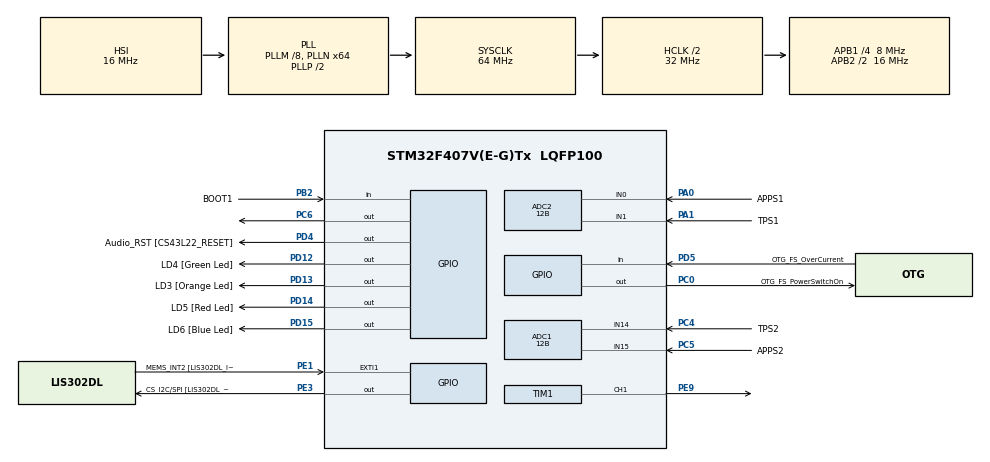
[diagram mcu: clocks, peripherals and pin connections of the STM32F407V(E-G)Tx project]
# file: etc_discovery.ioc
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ADC1.Channel-0\#ChannelRegularConversion=ADC_CHANNEL_15
ADC1.Channel-1\#ChannelRegularConversion=ADC_CHANNEL_14
ADC1.ClockPrescaler=ADC_CLOCK_SYNC_PCLK_DIV2
ADC1.ContinuousConvMode=ENABLE
ADC1.DMAContinuousRequests=DISABLE
ADC1.DataAlign=ADC_DATAALIGN_RIGHT
ADC1.DiscontinuousConvMode=DISABLE
ADC1.EOCSelection=ADC_EOC_SINGLE_CONV
ADC1.EnableAnalogWatchDog=false
ADC1.ExternalTrigConv=ADC_SOFTWARE_START
ADC1.ExternalTrigConvEdge=ADC_EXTERNALTRIGCONVEDGE_NONE
ADC1.Mode=ADC_DUALMODE_REGSIMULT
ADC1.NbrOfConversion=2
ADC1.NbrOfConversionFlag=1
ADC1.Rank-0\#ChannelRegularConversion=1
ADC1.Rank-1\#ChannelRegularConversion=2
ADC1.Resolution=ADC_RESOLUTION_12B
ADC1.SamplingTime-0\#ChannelRegularConversion=ADC_SAMPLETIME_144CYCLES
ADC1.SamplingTime-1\#ChannelRegularConversion=ADC_SAMPLETIME_144CYCLES
ADC1.ScanConvMode=ENABLE
ADC1.master=1
ADC2.Channel-0\#ChannelRegularConversion=ADC_CHANNEL_0
ADC2.Channel-1\#ChannelRegularConversion=ADC_CHANNEL_1
ADC2.ClockPrescaler=ADC_CLOCK_SYNC_PCLK_DIV2
ADC2.ContinuousConvMode=ENABLE
ADC2.DMAContinuousRequests=DISABLE
ADC2.DataAlign=ADC_DATAALIGN_RIGHT
ADC2.DiscontinuousConvMode=DISABLE
ADC2.EOCSelection=ADC_EOC_SINGLE_CONV
ADC2.EnableAnalogWatchDog=false
ADC2.Mode=ADC_DUALMODE_REGSIMULT
ADC2.NbrOfConversion=2
ADC2.NbrOfConversionFlag=1
ADC2.Rank-0\#ChannelRegularConversion=1
ADC2.Rank-1\#ChannelRegularConversion=2
ADC2.Resolution=ADC_RESOLUTION_12B
ADC2.SamplingTime-0\#ChannelRegularConversion=ADC_SAMPLETIME_144CYCLES
ADC2.SamplingTime-1\#ChannelRegularConversion=ADC_SAMPLETIME_144CYCLES
ADC2.ScanConvMode=ENABLE
Mcu.Family=STM32F4
Mcu.Name=STM32F407V(E-G)Tx
Mcu.Package=LQFP100
NVIC.PriorityGroup=NVIC_PRIORITYGROUP_0
PA0-WKUP.GPIO_Label=APPS1
PA0-WKUP.Signal=ADCx_IN0
PA1.GPIO_Label=TPS1
PA1.Signal=ADCx_IN1
PA10.GPIO_Label=OTG_FS_ID
PA10.GPIO_Mode=GPIO_MODE_AF_PP
PA10.GPIO_PuPd=GPIO_NOPULL
PA10.GPIO_Speed=GPIO_SPEED_FREQ_LOW
PA10.Signal=USB_OTG_FS_ID
PA11.GPIO_Label=OTG_FS_DM
PA11.GPIO_Mode=GPIO_MODE_AF_PP
PA11.GPIO_PuPd=GPIO_NOPULL
PA11.GPIO_Speed=GPIO_SPEED_FREQ_LOW
PA11.Signal=USB_OTG_FS_DM
PA12.GPIO_Label=OTG_FS_DP
PA12.GPIO_Mode=GPIO_MODE_AF_PP
PA12.GPIO_PuPd=GPIO_NOPULL
PA12.GPIO_Speed=GPIO_SPEED_FREQ_LOW
PA12.Signal=USB_OTG_FS_DP
PA13.GPIO_Label=SWDIO
PA13.Signal=SYS_JTMS-SWDIO
PA14.GPIO_Label=SWCLK
PA14.Signal=SYS_JTCK-SWCLK
PA4.GPIO_Label=I2S3_WS [CS43L22_LRCK]
PA4.GPIO_Mode=GPIO_MODE_AF_PP
PA4.GPIO_PuPd=GPIO_NOPULL
PA4.GPIO_Speed=GPIO_SPEED_FREQ_LOW
PA4.Signal=I2S3_WS
PA5.GPIO_Label=SPI1_SCK [LIS302DL_SCL/SPC]
PA5.GPIO_Mode=GPIO_MODE_AF_PP
PA5.GPIO_PuPd=GPIO_NOPULL
PA5.GPIO_Speed=GPIO_SPEED_FREQ_LOW
PA5.Signal=SPI1_SCK
PA6.GPIO_Label=SPI1_MISO [LIS302DL_SDO]
PA6.GPIO_Mode=GPIO_MODE_AF_PP
PA6.GPIO_PuPd=GPIO_NOPULL
PA6.GPIO_Speed=GPIO_SPEED_FREQ_LOW
PA6.Signal=SPI1_MISO
PA7.GPIO_Label=SPI1_MOSI [LIS302DL_SDA/SDI/SDO]
PA7.GPIO_Mode=GPIO_MODE_AF_PP
PA7.GPIO_PuPd=GPIO_NOPULL
PA7.GPIO_Speed=GPIO_SPEED_FREQ_LOW
PA7.Signal=SPI1_MOSI
PA9.GPIO_Label=VBUS_FS
PA9.GPIO_Mode=GPIO_MODE_INPUT
PA9.GPIO_PuPd=GPIO_NOPULL
PA9.Signal=USB_OTG_FS_VBUS
PB10.GPIO_Label=CLK_IN [MP45DT02_CLK]
PB10.GPIO_Mode=GPIO_MODE_AF_PP
PB10.GPIO_PuPd=GPIO_NOPULL
PB10.GPIO_Speed=GPIO_SPEED_FREQ_LOW
PB10.Signal=I2S2_CK
PB2.GPIO_Label=BOOT1
PB2.GPIO_Mode=GPIO_MODE_INPUT
PB2.GPIO_PuPd=GPIO_NOPULL
PB2.Signal=GPIO_Input
PB3.GPIO_Label=SWO
PB3.Signal=SYS_JTDO-SWO
PB6.GPIO_Label=Audio_SCL [CS43L22_SCL]
PB6.GPIO_Mode=GPIO_MODE_AF_OD
PB6.GPIO_PuPd=GPIO_NOPULL
PB6.GPIO_Speed=GPIO_SPEED_FREQ_LOW
PB6.Signal=I2C1_SCL
PB9.GPIO_Label=Audio_SDA [CS43L22_SDA]
PB9.GPIO_Mode=GPIO_MODE_AF_OD
PB9.GPIO_PuPd=GPIO_NOPULL
PB9.GPIO_Speed=GPIO_SPEED_FREQ_LOW
PB9.Signal=I2C1_SDA
PC0.GPIO_Label=OTG_FS_PowerSwitchOn
PC0.GPIO_PuPd=GPIO_NOPULL
PC0.GPIO_Speed=GPIO_SPEED_FREQ_LOW
PC0.PinState=GPIO_PIN_SET
PC0.Signal=GPIO_Output
PC10.GPIO_Label=I2S3_SCK [CS43L22_SCLK]
PC10.GPIO_Mode=GPIO_MODE_AF_PP
PC10.GPIO_PuPd=GPIO_NOPULL
PC10.GPIO_Speed=GPIO_SPEED_FREQ_LOW
PC10.Signal=I2S3_CK
PC12.GPIO_Label=I2S3_SD [CS43L22_SDIN]
PC12.GPIO_Mode=GPIO_MODE_AF_PP
PC12.GPIO_PuPd=GPIO_NOPULL
PC12.GPIO_Speed=GPIO_SPEED_FREQ_LOW
PC12.Signal=I2S3_SD
PC14-OSC32_IN.GPIO_Label=PC14-OSC32_IN
PC14-OSC32_IN.Signal=RCC_OSC32_IN
PC15-OSC32_OUT.GPIO_Label=PC15-OSC32_OUT
PC15-OSC32_OUT.Signal=RCC_OSC32_OUT
PC3.GPIO_Label=PDM_OUT [MP45DT02_DOUT]
PC3.GPIO_Mode=GPIO_MODE_AF_PP
PC3.GPIO_PuPd=GPIO_NOPULL
PC3.GPIO_Speed=GPIO_SPEED_FREQ_LOW
PC3.Signal=I2S2_SD
PC4.GPIO_Label=TPS2
PC4.Signal=ADCx_IN14
PC5.GPIO_Label=APPS2
PC5.Signal=ADCx_IN15
PC6.Signal=GPIO_Output
PC7.GPIO_Label=I2S3_MCK [CS43L22_MCLK]
PC7.GPIO_Mode=GPIO_MODE_AF_PP
PC7.GPIO_PuPd=GPIO_NOPULL
PC7.GPIO_Speed=GPIO_SPEED_FREQ_LOW
PC7.Signal=I2S3_MCK
PD12.GPIO_Label=LD4 [Green Led]
PD12.GPIO_PuPd=GPIO_NOPULL
PD12.GPIO_Speed=GPIO_SPEED_FREQ_LOW
PD12.Signal=GPIO_Output
PD13.GPIO_Label=LD3 [Orange Led]
PD13.GPIO_PuPd=GPIO_NOPULL
PD13.GPIO_Speed=GPIO_SPEED_FREQ_LOW
PD13.Signal=GPIO_Output
PD14.GPIO_Label=LD5 [Red Led]
PD14.GPIO_PuPd=GPIO_NOPULL
PD14.GPIO_Speed=GPIO_SPEED_FREQ_LOW
PD14.Signal=GPIO_Output
PD15.GPIO_Label=LD6 [Blue Led]
PD15.GPIO_PuPd=GPIO_NOPULL
PD15.GPIO_Speed=GPIO_SPEED_FREQ_LOW
PD15.Signal=GPIO_Output
PD4.GPIO_Label=Audio_RST [CS43L22_RESET]
PD4.GPIO_PuPd=GPIO_NOPULL
PD4.GPIO_Speed=GPIO_SPEED_FREQ_LOW
PD4.Signal=GPIO_Output
PD5.GPIO_Label=OTG_FS_OverCurrent
PD5.GPIO_Mode=GPIO_MODE_INPUT
PD5.GPIO_PuPd=GPIO_NOPULL
PD5.Signal=GPIO_Input
PE1.GPIO_Label=MEMS_INT2 [LIS302DL_INT2]
PE1.GPIO_ModeDefaultEXTI=GPIO_MODE_EVT_RISING
PE1.GPIO_PuPd=GPIO_NOPULL
PE1.Signal=GPXTI1
PE3.GPIO_Label=CS_I2C/SPI [LIS302DL_CS_I2C/SPI]
PE3.GPIO_PuPd=GPIO_NOPULL
PE3.GPIO_Speed=GPIO_SPEED_FREQ_LOW
PE3.Signal=GPIO_Output
PE9.Signal=S_TIM1_CH1
PH0-OSC_IN.GPIO_Label=PH0-OSC_IN
PH0-OSC_IN.Signal=RCC_OSC_IN
PH1-OSC_OUT.GPIO_Label=PH1-OSC_OUT
PH1-OSC_OUT.Signal=RCC_OSC_OUT
ProjectManager.HeapSize=0x200
ProjectManager.StackSize=0x400
ProjectManager.TargetToolchain=SW4STM32
RCC.48MHZClocksFreq_Value=18285714.285714287
RCC.AHBCLKDivider=RCC_SYSCLK_DIV2
RCC.AHBFreq_Value=32000000
RCC.APB1CLKDivider=RCC_HCLK_DIV4
RCC.APB1Freq_Value=8000000
RCC.APB1TimFreq_Value=16000000
RCC.APB2CLKDivider=RCC_HCLK_DIV2
RCC.APB2Freq_Value=16000000
RCC.APB2TimFreq_Value=32000000
RCC.CortexFreq_Value=32000000
RCC.HCLKFreq_Value=32000000
RCC.HSE_VALUE=8000000
RCC.HSI_VALUE=16000000
RCC.LSE_VALUE=32768
RCC.PLLM=8
RCC.PLLN=64
RCC.PLLQ=7
RCC.SYSCLKFreq_VALUE=64000000
RCC.SYSCLKSource=RCC_SYSCLKSOURCE_PLLCLK
RCC.VCOOutputFreq_Value=128000000
SH.ADCx_IN0.0=ADC2_IN0,IN0
SH.ADCx_IN1.0=ADC2_IN1,IN1
SH.ADCx_IN14.0=ADC1_IN14,IN14
SH.ADCx_IN15.0=ADC1_IN15,IN15
SH.S_TIM1_CH1.0=TIM1_CH1,PWM Generation1 CH1
TIM1.Channel-PWM\ Generation1\ CH1=TIM_CHANNEL_1
board=STM32F4DISCOVERY

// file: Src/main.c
/**
  ******************************************************************************
  * File Name          : main.c
  * Description        : Main program body
  ******************************************************************************
  ** This notice applies to any and all portions of this file
  * that are not between comment pairs USER CODE BEGIN and
  * USER CODE END. Other portions of this file, whether
  * inserted by the user or by software development tools
  * are owned by their respective copyright owners.
  *
  * COPYRIGHT(c) 2017 STMicroelectronics
  *
  * Redistribution and use in source and binary forms, with or without modification,
  * are permitted provided that the following conditions are met:
  *   1. Redistributions of source code must retain the above copyright notice,
  *      this list of conditions and the following disclaimer.
  *   2. Redistributions in binary form must reproduce the above copyright notice,
  *      this list of conditions and the following disclaimer in the documentation
  *      and/or other materials provided with the distribution.
  *   3. Neither the name of STMicroelectronics nor the names of its contributors
  *      may be used to endorse or promote products derived from this software
  *      without specific prior written permission.
  *
  * THIS SOFTWARE IS PROVIDED BY THE COPYRIGHT HOLDERS AND CONTRIBUTORS "AS IS"
  * AND ANY EXPRESS OR IMPLIED WARRANTIES, INCLUDING, BUT NOT LIMITED TO, THE
  * IMPLIED WARRANTIES OF MERCHANTABILITY AND FITNESS FOR A PARTICULAR PURPOSE ARE
  * DISCLAIMED. IN NO EVENT SHALL THE COPYRIGHT HOLDER OR CONTRIBUTORS BE LIABLE
  * FOR ANY DIRECT, INDIRECT, INCIDENTAL, SPECIAL, EXEMPLARY, OR CONSEQUENTIAL
  * DAMAGES (INCLUDING, BUT NOT LIMITED TO, PROCUREMENT OF SUBSTITUTE GOODS OR
  * SERVICES; LOSS OF USE, DATA, OR PROFITS; OR BUSINESS INTERRUPTION) HOWEVER
  * CAUSED AND ON ANY THEORY OF LIABILITY, WHETHER IN CONTRACT, STRICT LIABILITY,
  * OR TORT (INCLUDING NEGLIGENCE OR OTHERWISE) ARISING IN ANY WAY OUT OF THE USE
  * OF THIS SOFTWARE, EVEN IF ADVISED OF THE POSSIBILITY OF SUCH DAMAGE.
  *
  ******************************************************************************
  */
#include "main.h"
#include "stm32f4xx_hal.h"

ADC_HandleTypeDef hadc1;
ADC_HandleTypeDef hadc2;

TIM_HandleTypeDef htim1;

/* USER CODE BEGIN PV */
/* Private variables ---------------------------------------------------------*/

/* USER CODE END PV */

void SystemClock_Config(void);
static void MX_GPIO_Init(void);
static void MX_ADC1_Init(void);
static void MX_ADC2_Init(void);
static void MX_TIM1_Init(void);

void HAL_TIM_MspPostInit(TIM_HandleTypeDef *htim);

/* USER CODE BEGIN PFP */
/* Private function prototypes -----------------------------------------------*/

/* USER CODE END PFP */

/* USER CODE BEGIN 0 */
#include <stdio.h>
#include "etc_discovery.h"             /* Model's header file */
#include "rtwtypes.h"                  /* MathWorks types */

/* Real-time model */
extern RT_MODEL_etc_discovery *const etc_discovery_M;

/* Set which subrates need to run this base step (base rate always runs).*/
/* Defined in etc_discovery.c file */
extern void etc_discovery_SetEventsForThisBaseStep(boolean_T*);

/* Flags for taskOverrun */
static boolean_T OverrunFlags[1];

/* Number of auto reload timer rotation computed */
static uint32_t autoReloadTimerLoopVal_S = 1;

/* Remaining number of auto reload timer rotation to do */
static uint32_t remainAutoReloadTimerLoopVal_S = 1;

/* USER CODE END 0 */

int main(void)
{

  /* USER CODE BEGIN 1 */
    /* Data initialization */
    int_T i;

  /* USER CODE END 1 */

  /* MCU Configuration----------------------------------------------------------*/

  /* Reset of all peripherals, Initializes the Flash interface and the Systick. */
  HAL_Init();

  /* Configure the system clock */
  SystemClock_Config();

  /* Initialize all configured peripherals */
  MX_GPIO_Init();
  MX_ADC1_Init();
  MX_ADC2_Init();
  MX_TIM1_Init();

  /* USER CODE BEGIN 2 */
    /* Systick configuration and enable SysTickHandler interrupt */
    if (SysTick_Config((uint32_t)(SystemCoreClock * 0.001))) {
        autoReloadTimerLoopVal_S = 1;
        do {
            autoReloadTimerLoopVal_S++;
        } while ((uint32_t)(SystemCoreClock * 0.001)/autoReloadTimerLoopVal_S >
                        SysTick_LOAD_RELOAD_Msk);

        SysTick_Config((uint32_t)(SystemCoreClock * 0.001)/
                       autoReloadTimerLoopVal_S);
    }

    remainAutoReloadTimerLoopVal_S = autoReloadTimerLoopVal_S;//Set nb of loop to do

  /* USER CODE END 2 */

  /* Infinite loop */
  /* USER CODE BEGIN WHILE */
    for (i=0;i<1;i++) {
        OverrunFlags[i] = 0;
    }

    /* Model initialization call */
    etc_discovery_initialize();

    /* Infinite loop */
    /* Real time from systickHandler */
    while (1) {
        /*Process tasks every solver time*/
        if (remainAutoReloadTimerLoopVal_S == 0) {
            remainAutoReloadTimerLoopVal_S = autoReloadTimerLoopVal_S;

            /* Check base rate for overrun */
            if (OverrunFlags[0]) {
                rtmSetErrorStatus(etc_discovery_M, "Overrun");
            }

            OverrunFlags[0] = true;

            /* Step the model for base rate */
            etc_discovery_step();

            /* Get model outputs here */

            /* Indicate task for base rate complete */
            OverrunFlags[0] = false;
        }
    }

  /* USER CODE END WHILE */

}

/** System Clock Configuration
*/
void SystemClock_Config(void)
{

  RCC_OscInitTypeDef RCC_OscInitStruct;
  RCC_ClkInitTypeDef RCC_ClkInitStruct;

    /**Configure the main internal regulator output voltage
    */
  __HAL_RCC_PWR_CLK_ENABLE();

  __HAL_PWR_VOLTAGESCALING_CONFIG(PWR_REGULATOR_VOLTAGE_SCALE1);

    /**Initializes the CPU, AHB and APB busses clocks
    */
  RCC_OscInitStruct.OscillatorType = RCC_OSCILLATORTYPE_HSI;
  RCC_OscInitStruct.HSIState = RCC_HSI_ON;
  RCC_OscInitStruct.HSICalibrationValue = 16;
  RCC_OscInitStruct.PLL.PLLState = RCC_PLL_ON;
  RCC_OscInitStruct.PLL.PLLSource = RCC_PLLSOURCE_HSI;
  RCC_OscInitStruct.PLL.PLLM = 8;
  RCC_OscInitStruct.PLL.PLLN = 64;
  RCC_OscInitStruct.PLL.PLLP = RCC_PLLP_DIV2;
  RCC_OscInitStruct.PLL.PLLQ = 7;
  if (HAL_RCC_OscConfig(&RCC_OscInitStruct) != HAL_OK)
  {
    _Error_Handler(__FILE__, __LINE__);
  }

    /**Initializes the CPU, AHB and APB busses clocks
    */
  RCC_ClkInitStruct.ClockType = RCC_CLOCKTYPE_HCLK|RCC_CLOCKTYPE_SYSCLK
                              |RCC_CLOCKTYPE_PCLK1|RCC_CLOCKTYPE_PCLK2;
  RCC_ClkInitStruct.SYSCLKSource = RCC_SYSCLKSOURCE_PLLCLK;
  RCC_ClkInitStruct.AHBCLKDivider = RCC_SYSCLK_DIV2;
  RCC_ClkInitStruct.APB1CLKDivider = RCC_HCLK_DIV4;
  RCC_ClkInitStruct.APB2CLKDivider = RCC_HCLK_DIV2;

  if (HAL_RCC_ClockConfig(&RCC_ClkInitStruct, FLASH_LATENCY_1) != HAL_OK)
  {
    _Error_Handler(__FILE__, __LINE__);
  }

    /**Configure the Systick interrupt time
    */
  HAL_SYSTICK_Config(HAL_RCC_GetHCLKFreq()/1000);

    /**Configure the Systick
    */
  HAL_SYSTICK_CLKSourceConfig(SYSTICK_CLKSOURCE_HCLK);

  /* SysTick_IRQn interrupt configuration */
  HAL_NVIC_SetPriority(SysTick_IRQn, 0, 0);
}

/* ADC1 init function */
static void MX_ADC1_Init(void)
{

  ADC_MultiModeTypeDef multimode;
  ADC_ChannelConfTypeDef sConfig;

    /**Configure the global features of the ADC (Clock, Resolution, Data Alignment and number of conversion)
    */
  hadc1.Instance = ADC1;
  hadc1.Init.ClockPrescaler = ADC_CLOCK_SYNC_PCLK_DIV2;
  hadc1.Init.Resolution = ADC_RESOLUTION_12B;
  hadc1.Init.ScanConvMode = ENABLE;
  hadc1.Init.ContinuousConvMode = ENABLE;
  hadc1.Init.DiscontinuousConvMode = DISABLE;
  hadc1.Init.ExternalTrigConvEdge = ADC_EXTERNALTRIGCONVEDGE_NONE;
  hadc1.Init.ExternalTrigConv = ADC_SOFTWARE_START;
  hadc1.Init.DataAlign = ADC_DATAALIGN_RIGHT;
  hadc1.Init.NbrOfConversion = 2;
  hadc1.Init.DMAContinuousRequests = DISABLE;
  hadc1.Init.EOCSelection = ADC_EOC_SINGLE_CONV;
  if (HAL_ADC_Init(&hadc1) != HAL_OK)
  {
    _Error_Handler(__FILE__, __LINE__);
  }

    /**Configure the ADC multi-mode
    */
  multimode.Mode = ADC_DUALMODE_REGSIMULT;
  multimode.DMAAccessMode = ADC_DMAACCESSMODE_DISABLED;
  multimode.TwoSamplingDelay = ADC_TWOSAMPLINGDELAY_5CYCLES;
  if (HAL_ADCEx_MultiModeConfigChannel(&hadc1, &multimode) != HAL_OK)
  {
    _Error_Handler(__FILE__, __LINE__);
  }

    /**Configure for the selected ADC regular channel its corresponding rank in the sequencer and its sample time.
    */
  sConfig.Channel = ADC_CHANNEL_15;
  sConfig.Rank = 1;
  sConfig.SamplingTime = ADC_SAMPLETIME_144CYCLES;
  if (HAL_ADC_ConfigChannel(&hadc1, &sConfig) != HAL_OK)
  {
    _Error_Handler(__FILE__, __LINE__);
  }

    /**Configure for the selected ADC regular channel its corresponding rank in the sequencer and its sample time.
    */
  sConfig.Channel = ADC_CHANNEL_14;
  sConfig.Rank = 2;
  if (HAL_ADC_ConfigChannel(&hadc1, &sConfig) != HAL_OK)
  {
    _Error_Handler(__FILE__, __LINE__);
  }

}

/* ADC2 init function */
static void MX_ADC2_Init(void)
{

  ADC_ChannelConfTypeDef sConfig;

    /**Configure the global features of the ADC (Clock, Resolution, Data Alignment and number of conversion)
    */
  hadc2.Instance = ADC2;
  hadc2.Init.ClockPrescaler = ADC_CLOCK_SYNC_PCLK_DIV2;
  hadc2.Init.Resolution = ADC_RESOLUTION_12B;
  hadc2.Init.ScanConvMode = ENABLE;
  hadc2.Init.ContinuousConvMode = ENABLE;
  hadc2.Init.DiscontinuousConvMode = DISABLE;
  hadc2.Init.DataAlign = ADC_DATAALIGN_RIGHT;
  hadc2.Init.NbrOfConversion = 2;
  hadc2.Init.DMAContinuousRequests = DISABLE;
  hadc2.Init.EOCSelection = ADC_EOC_SINGLE_CONV;
  if (HAL_ADC_Init(&hadc2) != HAL_OK)
  {
    _Error_Handler(__FILE__, __LINE__);
  }

    /**Configure for the selected ADC regular channel its corresponding rank in the sequencer and its sample time.
    */
  sConfig.Channel = ADC_CHANNEL_0;
  sConfig.Rank = 1;
  sConfig.SamplingTime = ADC_SAMPLETIME_144CYCLES;
  if (HAL_ADC_ConfigChannel(&hadc2, &sConfig) != HAL_OK)
  {
    _Error_Handler(__FILE__, __LINE__);
  }

    /**Configure for the selected ADC regular channel its corresponding rank in the sequencer and its sample time.
    */
  sConfig.Channel = ADC_CHANNEL_1;
  sConfig.Rank = 2;
  if (HAL_ADC_ConfigChannel(&hadc2, &sConfig) != HAL_OK)
  {
    _Error_Handler(__FILE__, __LINE__);
  }

}

/* TIM1 init function */
static void MX_TIM1_Init(void)
{

  TIM_MasterConfigTypeDef sMasterConfig;
  TIM_OC_InitTypeDef sConfigOC;
  TIM_BreakDeadTimeConfigTypeDef sBreakDeadTimeConfig;

  htim1.Instance = TIM1;
  htim1.Init.Prescaler = 0;
  htim1.Init.CounterMode = TIM_COUNTERMODE_UP;
  htim1.Init.Period = 0;
  htim1.Init.ClockDivision = TIM_CLOCKDIVISION_DIV1;
  htim1.Init.RepetitionCounter = 0;
  if (HAL_TIM_PWM_Init(&htim1) != HAL_OK)
  {
    _Error_Handler(__FILE__, __LINE__);
  }

  sMasterConfig.MasterOutputTrigger = TIM_TRGO_RESET;
  sMasterConfig.MasterSlaveMode = TIM_MASTERSLAVEMODE_DISABLE;
  if (HAL_TIMEx_MasterConfigSynchronization(&htim1, &sMasterConfig) != HAL_OK)
  {
    _Error_Handler(__FILE__, __LINE__);
  }

  sConfigOC.OCMode = TIM_OCMODE_PWM1;
  sConfigOC.Pulse = 0;
  sConfigOC.OCPolarity = TIM_OCPOLARITY_HIGH;
  sConfigOC.OCNPolarity = TIM_OCNPOLARITY_HIGH;
  sConfigOC.OCFastMode = TIM_OCFAST_DISABLE;
  sConfigOC.OCIdleState = TIM_OCIDLESTATE_RESET;
  sConfigOC.OCNIdleState = TIM_OCNIDLESTATE_RESET;
  if (HAL_TIM_PWM_ConfigChannel(&htim1, &sConfigOC, TIM_CHANNEL_1) != HAL_OK)
  {
    _Error_Handler(__FILE__, __LINE__);
  }

  sBreakDeadTimeConfig.OffStateRunMode = TIM_OSSR_DISABLE;
  sBreakDeadTimeConfig.OffStateIDLEMode = TIM_OSSI_DISABLE;
  sBreakDeadTimeConfig.LockLevel = TIM_LOCKLEVEL_OFF;
  sBreakDeadTimeConfig.DeadTime = 0;
  sBreakDeadTimeConfig.BreakState = TIM_BREAK_DISABLE;
  sBreakDeadTimeConfig.BreakPolarity = TIM_BREAKPOLARITY_HIGH;
  sBreakDeadTimeConfig.AutomaticOutput = TIM_AUTOMATICOUTPUT_DISABLE;
  if (HAL_TIMEx_ConfigBreakDeadTime(&htim1, &sBreakDeadTimeConfig) != HAL_OK)
  {
    _Error_Handler(__FILE__, __LINE__);
  }

  HAL_TIM_MspPostInit(&htim1);

}

/** Configure pins as
        * Analog
        * Input
        * Output
        * EVENT_OUT
        * EXTI
     PC3   ------> I2S2_SD
     PA4   ------> I2S3_WS
     PA5   ------> SPI1_SCK
     PA6   ------> SPI1_MISO
     PA7   ------> SPI1_MOSI
     PB10   ------> I2S2_CK
     PC7   ------> I2S3_MCK
     PA9   ------> USB_OTG_FS_VBUS
     PA10   ------> USB_OTG_FS_ID
     PA11   ------> USB_OTG_FS_DM
     PA12   ------> USB_OTG_FS_DP
     PC10   ------> I2S3_CK
     PC12   ------> I2S3_SD
     PB6   ------> I2C1_SCL
     PB9   ------> I2C1_SDA
*/
static void MX_GPIO_Init(void)
{

  GPIO_InitTypeDef GPIO_InitStruct;

  /* GPIO Ports Clock Enable */
  __HAL_RCC_GPIOE_CLK_ENABLE();
  __HAL_RCC_GPIOC_CLK_ENABLE();
  __HAL_RCC_GPIOH_CLK_ENABLE();
  __HAL_RCC_GPIOA_CLK_ENABLE();
  __HAL_RCC_GPIOB_CLK_ENABLE();
  __HAL_RCC_GPIOD_CLK_ENABLE();

  /*Configure GPIO pin Output Level */
  HAL_GPIO_WritePin(CS_I2C_SPI_GPIO_Port, CS_I2C_SPI_Pin, GPIO_PIN_RESET);

  /*Configure GPIO pin Output Level */
  HAL_GPIO_WritePin(OTG_FS_PowerSwitchOn_GPIO_Port, OTG_FS_PowerSwitchOn_Pin, GPIO_PIN_SET);

  /*Configure GPIO pin Output Level */
  HAL_GPIO_WritePin(GPIOD, LD4_Pin|LD3_Pin|LD5_Pin|LD6_Pin
                          |Audio_RST_Pin, GPIO_PIN_RESET);

  /*Configure GPIO pin Output Level */
  HAL_GPIO_WritePin(GPIOC, GPIO_PIN_6, GPIO_PIN_RESET);

  /*Configure GPIO pin : CS_I2C_SPI_Pin */
  GPIO_InitStruct.Pin = CS_I2C_SPI_Pin;
  GPIO_InitStruct.Mode = GPIO_MODE_OUTPUT_PP;
  GPIO_InitStruct.Pull = GPIO_NOPULL;
  GPIO_InitStruct.Speed = GPIO_SPEED_FREQ_LOW;
  HAL_GPIO_Init(CS_I2C_SPI_GPIO_Port, &GPIO_InitStruct);

  /*Configure GPIO pins : OTG_FS_PowerSwitchOn_Pin PC6 */
  GPIO_InitStruct.Pin = OTG_FS_PowerSwitchOn_Pin|GPIO_PIN_6;
  GPIO_InitStruct.Mode = GPIO_MODE_OUTPUT_PP;
  GPIO_InitStruct.Pull = GPIO_NOPULL;
  GPIO_InitStruct.Speed = GPIO_SPEED_FREQ_LOW;
  HAL_GPIO_Init(GPIOC, &GPIO_InitStruct);

  /*Configure GPIO pin : PDM_OUT_Pin */
  GPIO_InitStruct.Pin = PDM_OUT_Pin;
  GPIO_InitStruct.Mode = GPIO_MODE_AF_PP;
  GPIO_InitStruct.Pull = GPIO_NOPULL;
  GPIO_InitStruct.Speed = GPIO_SPEED_FREQ_LOW;
  GPIO_InitStruct.Alternate = GPIO_AF5_SPI2;
  HAL_GPIO_Init(PDM_OUT_GPIO_Port, &GPIO_InitStruct);

  /*Configure GPIO pin : I2S3_WS_Pin */
  GPIO_InitStruct.Pin = I2S3_WS_Pin;
  GPIO_InitStruct.Mode = GPIO_MODE_AF_PP;
  GPIO_InitStruct.Pull = GPIO_NOPULL;
  GPIO_InitStruct.Speed = GPIO_SPEED_FREQ_LOW;
  GPIO_InitStruct.Alternate = GPIO_AF6_SPI3;
  HAL_GPIO_Init(I2S3_WS_GPIO_Port, &GPIO_InitStruct);

  /*Configure GPIO pins : SPI1_SCK_Pin SPI1_MISO_Pin SPI1_MOSI_Pin */
  GPIO_InitStruct.Pin = SPI1_SCK_Pin|SPI1_MISO_Pin|SPI1_MOSI_Pin;
  GPIO_InitStruct.Mode = GPIO_MODE_AF_PP;
  GPIO_InitStruct.Pull = GPIO_NOPULL;
  GPIO_InitStruct.Speed = GPIO_SPEED_FREQ_LOW;
  GPIO_InitStruct.Alternate = GPIO_AF5_SPI1;
  HAL_GPIO_Init(GPIOA, &GPIO_InitStruct);

  /*Configure GPIO pin : BOOT1_Pin */
  GPIO_InitStruct.Pin = BOOT1_Pin;
  GPIO_InitStruct.Mode = GPIO_MODE_INPUT;
  GPIO_InitStruct.Pull = GPIO_NOPULL;
  HAL_GPIO_Init(BOOT1_GPIO_Port, &GPIO_InitStruct);

  /*Configure GPIO pin : CLK_IN_Pin */
  GPIO_InitStruct.Pin = CLK_IN_Pin;
  GPIO_InitStruct.Mode = GPIO_MODE_AF_PP;
  GPIO_InitStruct.Pull = GPIO_NOPULL;
  GPIO_InitStruct.Speed = GPIO_SPEED_FREQ_LOW;
  GPIO_InitStruct.Alternate = GPIO_AF5_SPI2;
  HAL_GPIO_Init(CLK_IN_GPIO_Port, &GPIO_InitStruct);

  /*Configure GPIO pins : LD4_Pin LD3_Pin LD5_Pin LD6_Pin
                           Audio_RST_Pin */
  GPIO_InitStruct.Pin = LD4_Pin|LD3_Pin|LD5_Pin|LD6_Pin
                          |Audio_RST_Pin;
  GPIO_InitStruct.Mode = GPIO_MODE_OUTPUT_PP;
  GPIO_InitStruct.Pull = GPIO_NOPULL;
  GPIO_InitStruct.Speed = GPIO_SPEED_FREQ_LOW;
  HAL_GPIO_Init(GPIOD, &GPIO_InitStruct);

  /*Configure GPIO pins : I2S3_MCK_Pin I2S3_SCK_Pin I2S3_SD_Pin */
  GPIO_InitStruct.Pin = I2S3_MCK_Pin|I2S3_SCK_Pin|I2S3_SD_Pin;
  GPIO_InitStruct.Mode = GPIO_MODE_AF_PP;
  GPIO_InitStruct.Pull = GPIO_NOPULL;
  GPIO_InitStruct.Speed = GPIO_SPEED_FREQ_LOW;
  GPIO_InitStruct.Alternate = GPIO_AF6_SPI3;
  HAL_GPIO_Init(GPIOC, &GPIO_InitStruct);

  /*Configure GPIO pin : VBUS_FS_Pin */
  GPIO_InitStruct.Pin = VBUS_FS_Pin;
  GPIO_InitStruct.Mode = GPIO_MODE_INPUT;
  GPIO_InitStruct.Pull = GPIO_NOPULL;
  HAL_GPIO_Init(VBUS_FS_GPIO_Port, &GPIO_InitStruct);

  /*Configure GPIO pins : OTG_FS_ID_Pin OTG_FS_DM_Pin OTG_FS_DP_Pin */
  GPIO_InitStruct.Pin = OTG_FS_ID_Pin|OTG_FS_DM_Pin|OTG_FS_DP_Pin;
  GPIO_InitStruct.Mode = GPIO_MODE_AF_PP;
  GPIO_InitStruct.Pull = GPIO_NOPULL;
  GPIO_InitStruct.Speed = GPIO_SPEED_FREQ_LOW;
  GPIO_InitStruct.Alternate = GPIO_AF10_OTG_FS;
  HAL_GPIO_Init(GPIOA, &GPIO_InitStruct);

  /*Configure GPIO pin : OTG_FS_OverCurrent_Pin */
  GPIO_InitStruct.Pin = OTG_FS_OverCurrent_Pin;
  GPIO_InitStruct.Mode = GPIO_MODE_INPUT;
  GPIO_InitStruct.Pull = GPIO_NOPULL;
  HAL_GPIO_Init(OTG_FS_OverCurrent_GPIO_Port, &GPIO_InitStruct);

  /*Configure GPIO pins : Audio_SCL_Pin Audio_SDA_Pin */
  GPIO_InitStruct.Pin = Audio_SCL_Pin|Audio_SDA_Pin;
  GPIO_InitStruct.Mode = GPIO_MODE_AF_OD;
  GPIO_InitStruct.Pull = GPIO_PULLUP;
  GPIO_InitStruct.Speed = GPIO_SPEED_FREQ_LOW;
  GPIO_InitStruct.Alternate = GPIO_AF4_I2C1;
  HAL_GPIO_Init(GPIOB, &GPIO_InitStruct);

  /*Configure GPIO pin : MEMS_INT2_Pin */
  GPIO_InitStruct.Pin = MEMS_INT2_Pin;
  GPIO_InitStruct.Mode = GPIO_MODE_EVT_RISING;
  GPIO_InitStruct.Pull = GPIO_NOPULL;
  HAL_GPIO_Init(MEMS_INT2_GPIO_Port, &GPIO_InitStruct);

}

/* USER CODE BEGIN 4 */
/****************************************************
   SysTick_Handler callback function
   This handler is called every tick and schedules tasks
 *****************************************************/
void HAL_SYSTICK_Callback(void)
{
    /* For TIME OUT processing */
    HAL_IncTick();

    /* Manage nb of loop before interrupt has to be processed */
    if (remainAutoReloadTimerLoopVal_S) {
        remainAutoReloadTimerLoopVal_S--;
    }
}

/* USER CODE END 4 */

void _Error_Handler(char * file, int line)
{
  while(1)
  {
  }
}

/************************ (C) COPYRIGHT STMicroelectronics *****END OF FILE****/
